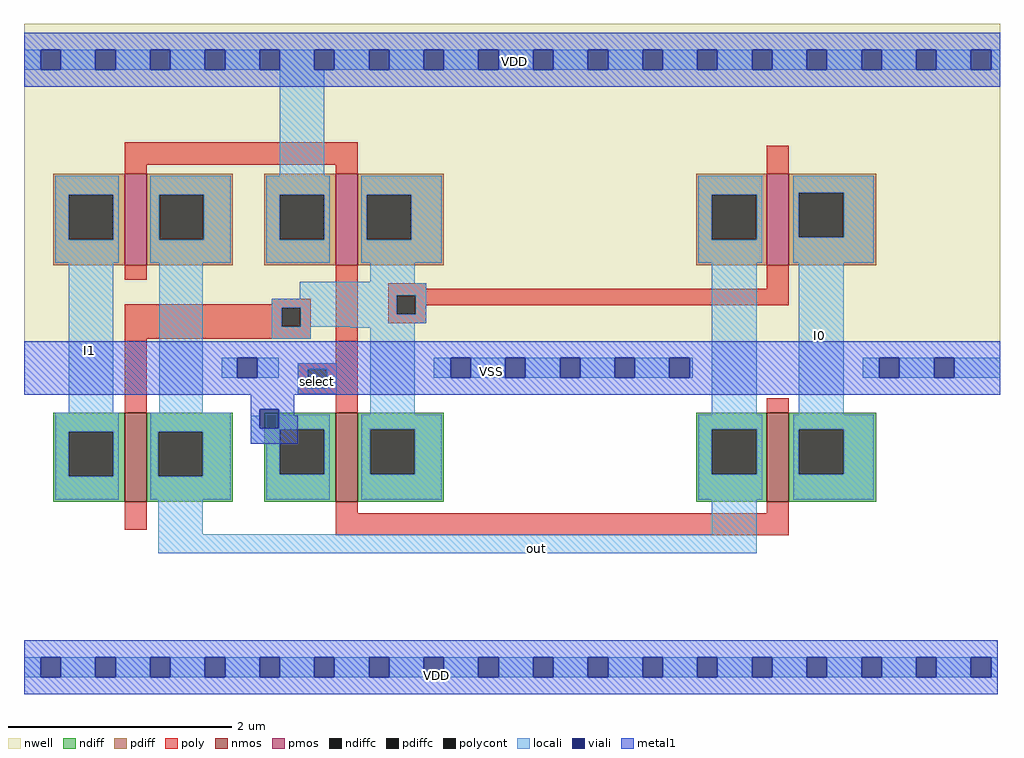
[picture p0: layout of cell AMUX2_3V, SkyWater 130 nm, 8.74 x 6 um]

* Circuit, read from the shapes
.subckt AMUX2_3V select I0 out I1 VSS VDD
XM1 out n1 I1 VSUBS sky130_fd_pr__nfet_01v8 w=0.8 l=0.2
XM2 n1 select VSS VSUBS sky130_fd_pr__nfet_01v8 w=0.8 l=0.2
XM3 I0 select out VSUBS sky130_fd_pr__nfet_01v8 w=0.8 l=0.2
XM4 out select I1 n2 sky130_fd_pr__pfet_01v8 w=0.82 l=0.2
XM5 n1 select VDD n2 sky130_fd_pr__pfet_01v8 w=0.82 l=0.2
XM6 I0 n1 out n2 sky130_fd_pr__pfet_01v8 w=0.82 l=0.2
.ends

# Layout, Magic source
magic
tech sky130A
<< nwell >>
rect 0 291 874 576
<< nmos >>
rect 90 148 110 228
rect 279 148 299 228
rect 665 148 685 228
<< pmos >>
rect 90 360 110 442
rect 279 360 299 442
rect 665 360 685 442
<< ndiff >>
rect 26 211 90 228
rect 26 171 40 211
rect 80 171 90 211
rect 26 148 90 171
rect 110 211 187 228
rect 110 171 120 211
rect 160 171 187 211
rect 110 148 187 171
rect 215 213 279 228
rect 215 173 229 213
rect 269 173 279 213
rect 215 148 279 173
rect 299 213 376 228
rect 299 173 310 213
rect 350 173 376 213
rect 299 148 376 173
rect 602 213 665 228
rect 602 173 616 213
rect 656 173 665 213
rect 602 148 665 173
rect 685 213 763 228
rect 685 173 694 213
rect 734 173 763 213
rect 685 148 763 173
<< pdiff >>
rect 26 423 90 442
rect 26 383 40 423
rect 80 383 90 423
rect 26 360 90 383
rect 110 423 187 442
rect 110 383 121 423
rect 161 383 187 423
rect 110 360 187 383
rect 215 423 279 442
rect 215 383 229 423
rect 269 383 279 423
rect 215 360 279 383
rect 299 423 376 442
rect 299 383 307 423
rect 347 383 376 423
rect 299 360 376 383
rect 602 423 665 442
rect 602 383 616 423
rect 656 383 665 423
rect 602 360 665 383
rect 685 425 763 442
rect 685 385 694 425
rect 734 385 763 425
rect 685 360 763 385
<< ndiffc >>
rect 40 171 80 211
rect 120 171 160 211
rect 229 173 269 213
rect 310 173 350 213
rect 616 173 656 213
rect 694 173 734 213
<< pdiffc >>
rect 40 383 80 423
rect 121 383 161 423
rect 229 383 269 423
rect 307 383 347 423
rect 616 383 656 423
rect 694 385 734 425
<< poly >>
rect 90 450 299 470
rect 90 442 110 450
rect 279 442 299 450
rect 665 442 685 467
rect 90 347 110 360
rect 222 325 257 330
rect 90 322 257 325
rect 90 305 231 322
rect 248 305 257 322
rect 90 294 257 305
rect 90 228 110 294
rect 279 272 299 360
rect 326 339 360 344
rect 665 339 685 360
rect 326 333 685 339
rect 326 316 334 333
rect 351 324 685 333
rect 351 316 360 324
rect 326 308 360 316
rect 245 267 299 272
rect 245 250 254 267
rect 271 250 299 267
rect 245 245 299 250
rect 279 228 299 245
rect 665 228 685 241
rect 90 123 110 148
rect 279 138 299 148
rect 665 138 685 148
rect 279 118 685 138
<< polycont >>
rect 231 305 248 322
rect 334 316 351 333
rect 254 250 271 267
<< locali >>
rect 0 535 15 553
rect 33 535 64 553
rect 82 535 113 553
rect 131 535 162 553
rect 180 535 211 553
rect 229 535 260 553
rect 278 535 309 553
rect 327 535 358 553
rect 376 535 407 553
rect 425 535 456 553
rect 474 535 505 553
rect 523 535 554 553
rect 572 535 603 553
rect 621 535 652 553
rect 670 535 701 553
rect 719 535 750 553
rect 768 535 799 553
rect 817 535 848 553
rect 866 535 874 553
rect 229 440 269 535
rect 28 423 85 440
rect 28 383 40 423
rect 80 383 85 423
rect 28 362 85 383
rect 113 423 185 440
rect 113 383 121 423
rect 161 383 185 423
rect 113 362 185 383
rect 217 423 274 440
rect 217 383 229 423
rect 269 383 274 423
rect 217 362 274 383
rect 302 423 374 440
rect 302 383 307 423
rect 347 383 374 423
rect 302 362 374 383
rect 604 423 661 440
rect 604 383 616 423
rect 656 383 661 423
rect 604 362 661 383
rect 689 425 761 440
rect 689 385 694 425
rect 734 385 761 425
rect 689 362 761 385
rect 40 228 80 362
rect 121 228 160 362
rect 310 345 350 362
rect 247 344 350 345
rect 247 333 360 344
rect 247 330 334 333
rect 222 322 334 330
rect 222 305 231 322
rect 248 316 334 322
rect 351 316 360 333
rect 248 308 360 316
rect 248 305 350 308
rect 222 294 257 305
rect 292 304 350 305
rect 177 259 191 277
rect 209 259 228 277
rect 245 267 280 272
rect 245 250 254 267
rect 271 250 280 267
rect 245 245 280 250
rect 28 211 85 228
rect 28 171 40 211
rect 80 171 85 211
rect 28 150 85 171
rect 113 211 185 228
rect 113 171 120 211
rect 160 171 185 211
rect 203 214 211 225
rect 310 226 350 304
rect 367 259 382 277
rect 400 259 431 277
rect 449 259 480 277
rect 498 259 529 277
rect 547 259 578 277
rect 596 259 599 277
rect 616 226 656 362
rect 694 226 734 362
rect 751 259 766 277
rect 784 259 815 277
rect 833 259 874 277
rect 228 214 274 226
rect 203 213 274 214
rect 203 200 229 213
rect 113 150 185 171
rect 217 173 229 200
rect 269 173 274 213
rect 217 150 274 173
rect 302 213 374 226
rect 302 173 310 213
rect 350 173 374 213
rect 302 150 374 173
rect 604 213 661 226
rect 604 173 616 213
rect 656 173 661 213
rect 604 150 661 173
rect 689 213 761 226
rect 689 173 694 213
rect 734 173 761 213
rect 689 150 761 173
rect 120 119 160 150
rect 616 119 656 150
rect 120 102 656 119
rect 0 -9 15 9
rect 33 -9 64 9
rect 82 -9 113 9
rect 131 -9 162 9
rect 180 -9 211 9
rect 229 -9 260 9
rect 278 -9 309 9
rect 327 -9 358 9
rect 376 -9 407 9
rect 425 -9 456 9
rect 474 -9 505 9
rect 523 -9 554 9
rect 572 -9 603 9
rect 621 -9 652 9
rect 670 -9 701 9
rect 719 -9 750 9
rect 768 -9 799 9
rect 817 -9 848 9
rect 866 -9 872 9
<< viali >>
rect 15 535 33 553
rect 64 535 82 553
rect 113 535 131 553
rect 162 535 180 553
rect 211 535 229 553
rect 260 535 278 553
rect 309 535 327 553
rect 358 535 376 553
rect 407 535 425 553
rect 456 535 474 553
rect 505 535 523 553
rect 554 535 572 553
rect 603 535 621 553
rect 652 535 670 553
rect 701 535 719 553
rect 750 535 768 553
rect 799 535 817 553
rect 848 535 866 553
rect 191 259 209 277
rect 211 214 228 231
rect 382 259 400 277
rect 431 259 449 277
rect 480 259 498 277
rect 529 259 547 277
rect 578 259 596 277
rect 766 259 784 277
rect 815 259 833 277
rect 15 -9 33 9
rect 64 -9 82 9
rect 113 -9 131 9
rect 162 -9 180 9
rect 211 -9 229 9
rect 260 -9 278 9
rect 309 -9 327 9
rect 358 -9 376 9
rect 407 -9 425 9
rect 456 -9 474 9
rect 505 -9 523 9
rect 554 -9 572 9
rect 603 -9 621 9
rect 652 -9 670 9
rect 701 -9 719 9
rect 750 -9 768 9
rect 799 -9 817 9
rect 848 -9 866 9
<< metal1 >>
rect 0 553 874 568
rect 0 535 15 553
rect 33 535 64 553
rect 82 535 113 553
rect 131 535 162 553
rect 180 535 211 553
rect 229 535 260 553
rect 278 535 309 553
rect 327 535 358 553
rect 376 535 407 553
rect 425 535 456 553
rect 474 535 505 553
rect 523 535 554 553
rect 572 535 603 553
rect 621 535 652 553
rect 670 535 701 553
rect 719 535 750 553
rect 768 535 799 553
rect 817 535 848 553
rect 866 535 874 553
rect 0 520 874 535
rect 0 277 874 292
rect 0 259 191 277
rect 209 259 382 277
rect 400 259 431 277
rect 449 259 480 277
rect 498 259 529 277
rect 547 259 578 277
rect 596 259 766 277
rect 784 259 815 277
rect 833 259 874 277
rect 0 244 874 259
rect 203 231 242 244
rect 203 214 211 231
rect 228 225 242 231
rect 228 214 245 225
rect 203 200 245 214
rect 0 9 872 24
rect 0 -9 15 9
rect 33 -9 64 9
rect 82 -9 113 9
rect 131 -9 162 9
rect 180 -9 211 9
rect 229 -9 260 9
rect 278 -9 309 9
rect 327 -9 358 9
rect 376 -9 407 9
rect 425 -9 456 9
rect 474 -9 505 9
rect 523 -9 554 9
rect 572 -9 603 9
rect 621 -9 652 9
rect 670 -9 701 9
rect 719 -9 750 9
rect 768 -9 799 9
rect 817 -9 848 9
rect 866 -9 872 9
rect 0 -24 872 -9
<< labels >>
flabel locali s 263 256 263 256 0 FreeSans 120 0 0 0 select
port 6 nsew signal input
flabel locali s 712 297 712 297 0 FreeSans 120 0 0 0 I0
port 11 nsew signal input
flabel locali s 459 106 459 106 0 FreeSans 120 0 0 0 out
port 13 nsew signal output
flabel locali s 59 284 59 284 0 FreeSans 120 0 0 0 I1
port 14 nsew signal input
flabel metal1 s 369 -7 369 -7 0 FreeSans 120 0 0 0 VDD
port 24 nsew power bidirectional
flabel metal1 s 419 265 419 265 0 FreeSans 120 0 0 0 VSS
port 22 nsew ground bidirectional
flabel metal1 s 439 542 439 542 0 FreeSans 120 0 0 0 VDD
port 26 nsew power bidirectional
<< properties >>
string LEFsite unithddbl
string LEFclass CORE
string FIXED_BBOX 0 0 874 544
string LEFsite unithdbl LEForigin 0 0
<< end >>
